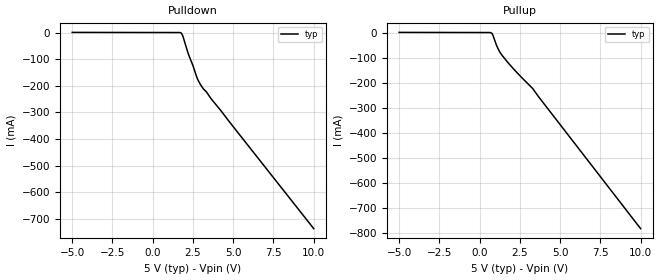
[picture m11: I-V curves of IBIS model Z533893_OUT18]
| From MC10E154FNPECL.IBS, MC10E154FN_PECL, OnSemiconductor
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| (C) COPYRIGHT 1993-2000
| MENTOR GRAPHICS CORPORATION
| ICX STANDARD LIBRARY, ICX PROJECT MODELING,
| ICX CUSTOM MODELING, ICX VENDOR MODEL
| ALL RIGHTS RESERVED.
| THE FOLLOWING ARE TRADEMARKS OR SERVICE MARKS OF
| MENTOR GRAPHICS CORPORATION:ICX (R), ICX STANDARD
| LIBRARY(R), ICX PROJECT MODELING(R), ICX CUSTOM
| MODELING(R), qualityIBIS(TM), MODELVIEWER(TM),
| AND MODELEDITOR(TM)
| ALL COPIES OF SOFTWARE, INCLUDING BUT NOT LIMITED TO
| ANY MODIFICATIONS, ENHANCEMENTS OR DERIVATIVE WORKS,
| MUST CONTAIN ALL MENTOR GRAPHICS CORPORATION'S
| NOTICES AND LEGENDS, INCLUDING THOSE EMBEDDED IN
| SOFTWARE AND THOSE AFFIXED TO SOFTWARE MEDIUM
| AND CONTAINER, AS RECEIVED FROM MENTOR GRAPHICS
| CORPORATION.
| Model Application Version 1.89 2/18/99.
[Model] Z533893_OUT18
Model_type Output_ECL
Vref=3.000V
Rref=50.00ohms
Cref=0.000F
Vmeas=3.700V
C_comp 8.000pF NA NA
| variable typ   min   max
[Voltage Range] 5.000V NA NA
[POWER Clamp Reference] 5.000V NA NA
[Pullup Reference] 5.000V NA NA
[Pulldown Reference] 5.000V NA NA
[GND Clamp Reference] 0.000V NA NA
[GND Clamp]
-5V       0A         NA         NA
10V       0A         NA         NA
[Pulldown]
-5V       623uA      NA         NA
1.504V    100.1uA    NA         NA
1.785V    -2.515mA   NA         NA
1.871V    -13.13mA   NA         NA
2.153V    -69.51mA   NA         NA
2.498V    -124.1mA   NA         NA
2.732V    -166.8mA   NA         NA
2.961V    -195mA     NA         NA
3.144V    -211.5mA   NA         NA
3.334V    -222.9mA   NA         NA
3.629V    -249mA     NA         NA
10V       -736.7mA   NA         NA
[Pullup]
-5V       691.3uA    NA         NA
742mV     -1.812mA   NA         NA
830mV     -11.1mA    NA         NA
1.136V    -63.45mA   NA         NA
1.387V    -89.91mA   NA         NA
2.185V    -150.2mA   NA         NA
3.295V    -222.7mA   NA         NA
10V       -780.9mA   NA         NA
[POWER Clamp]
-5V       0A         NA         NA
10V       0A         NA         NA
[Ramp]
| variable typ min max
dV/dt_r 606.8m/1.218n NA NA
dV/dt_f 606.8m/1.079n NA NA
R_load = 500.0Ohms
